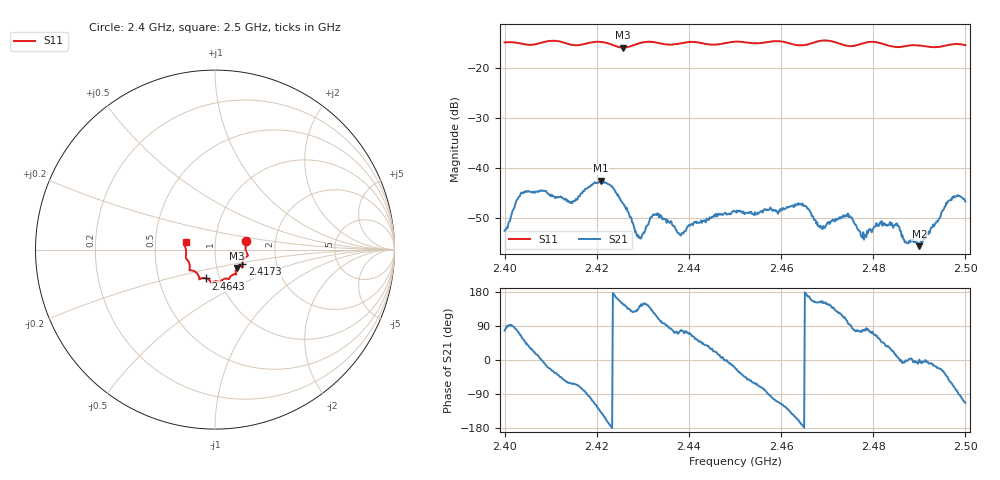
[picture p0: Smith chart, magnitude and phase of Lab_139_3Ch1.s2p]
# Hz S RI R 50
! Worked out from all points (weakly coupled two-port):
!   601 points, 2.4 GHz to 2.5 GHz, reference 50 ohm
!   highest |S21| = -42.48 dB at 2.4208 GHz (marker M1); lowest = -55.5 dB at 2.49 GHz (marker M2)
!   lowest |S11| = -15.9 dB at 2.4257 GHz (marker M3), VSWR 1.38, Z = 62.4 - j13.1 ohm
!   |S11| at or under -10 dB: start of sweep to end of sweep
!   S12 and S22 are empty: the file has one direction only
!   S11 on the Smith chart (normalised r, x): 2.4 GHz: 1.41, +0.14; 2.4173 GHz: 1.34, -0.23; 2.4643 GHz: 0.86, -0.28; 2.5 GHz: 0.72, +0.06
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2.4e9  0.1733 0.0491  0.00052 0.00232  0 0  0 0
2.404e9  0.1717 0.0249  0.00322 0.00463  0 0  0 0
2.414333e9  0.1637 -0.0495  0.00221 -0.00394  0 0  0 0
2.416667e9  0.1533 -0.0748  0.00144 -0.00543  0 0  0 0
2.417333e9  0.1524 -0.0822  0.000898 -0.0059  0 0  0 0
2.420833e9  0.154 -0.097  -0.00551 -0.00511  0 0  0 0
2.425667e9  0.1225 -0.1022  -0.00375 0.00243  0 0  0 0
2.429167e9  0.1161 -0.132  -0.0015 0.00134  0 0  0 0
2.433333e9  0.1128 -0.1368  -0.00116 0.00332  0 0  0 0
2.438333e9  0.0817 -0.1562  0.000392 0.00213  0 0  0 0
2.45e9  0.0294 -0.1807  0.00348 -0.00129  0 0  0 0
2.464333e9  -0.0499 -0.1605  -0.00435 -0.000884  0 0  0 0
2.466667e9  -0.0758 -0.1596  -0.00307 0.00131  0 0  0 0
2.469167e9  -0.0875 -0.1663  -0.00231 0.0013  0 0  0 0
2.4745e9  -0.1017 -0.1309  -0.000421 0.00352  0 0  0 0
2.478e9  -0.135 -0.1159  0.000418 0.00189  0 0  0 0
2.483333e9  -0.1406 -0.0898  0.00222 0.00152  0 0  0 0
2.485167e9  -0.1454 -0.0703  0.00278 0.000488  0 0  0 0
2.487167e9  -0.1561 -0.0556  0.00182 -6.35e-05  0 0  0 0
2.49e9  -0.1627 -0.0409  0.00167 2.72e-05  0 0  0 0
2.496333e9  -0.1684 0.0217  0.00295 -0.0037  0 0  0 0
2.5e9  -0.1636 0.0419  -0.00182 -0.00427  0 0  0 0
